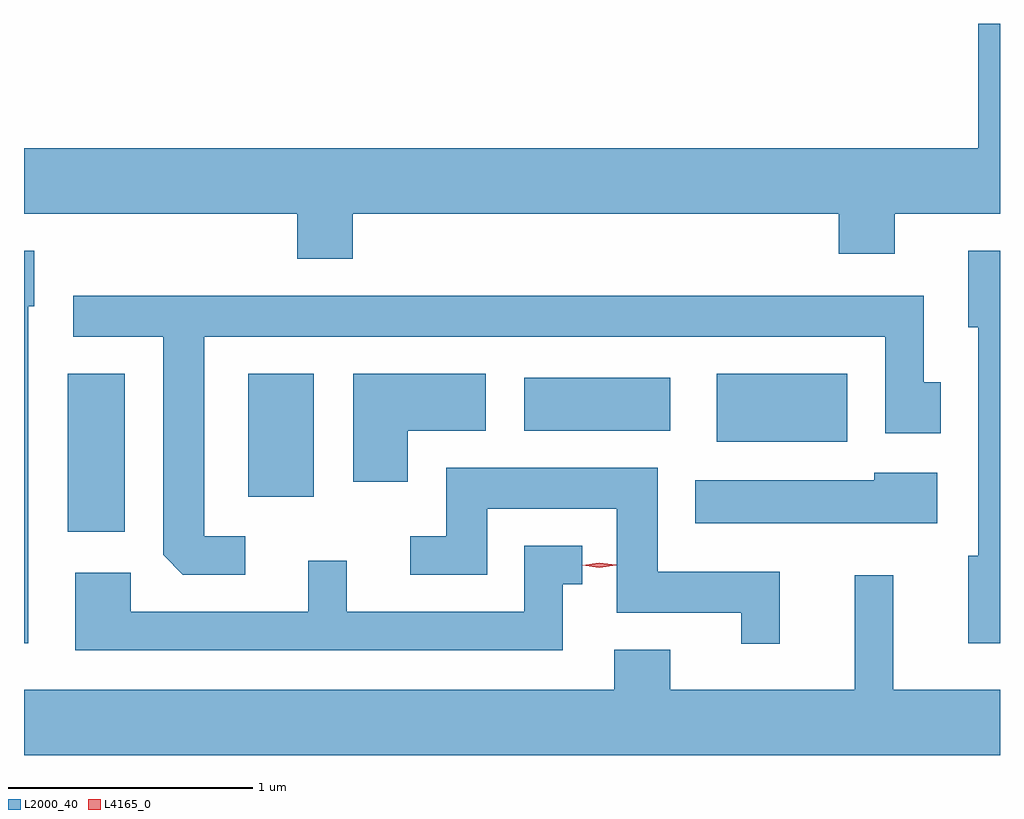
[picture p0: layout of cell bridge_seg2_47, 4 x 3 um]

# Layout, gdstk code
import gdstk
lib = gdstk.Library(unit=1e-6, precision=1e-09)
def R(c, l, rs):  # rectangles x0, y0, x1, y1
    for r in rs: c.add(gdstk.rectangle(r[:2], r[2:], *l))
def P(c, l, *ps):  # polygons
    for p in ps: c.add(gdstk.Polygon(p, *l))
L2000_40 = (2000, 40)
L4165_0 = (4165, 0)

bridge_seg2_47 = lib.new_cell('bridge_seg2_47')
R(bridge_seg2_47, L2000_40, [(1423.711,1053.671,1423.944,1054.319), (1424.451,1053.816,1424.719,1054.319), (1426.371,1054.041,1426.904,1054.319), (1425.581,1054.086,1426.179,1054.304)])
P(bridge_seg2_47, L2000_40, [(1424.879,1054.976),(1426.871,1054.976),(1426.871,1054.811),(1427.099,1054.811),(1427.099,1054.976),(1427.531,1054.976),(1427.531,1055.754),(1427.441,1055.754),(1427.441,1055.244),(1423.531,1055.244),(1423.531,1054.976),(1424.651,1054.976),(1424.651,1054.791),(1424.879,1054.791)],
  [(1423.549,1054.596),(1423.574,1054.596),(1423.574,1054.824),(1423.531,1054.824),(1423.531,1053.216),(1423.549,1053.216)],
  [(1427.531,1054.824),(1427.401,1054.824),(1427.401,1054.511),(1427.441,1054.511),(1427.441,1053.574),(1427.401,1053.574),(1427.401,1053.216),(1427.531,1053.216)],
  [(1424.438,1053.654),(1424.269,1053.654),(1424.269,1054.471),(1427.061,1054.471),(1427.061,1054.076),(1427.289,1054.076),(1427.289,1054.284),(1427.219,1054.284),(1427.219,1054.639),(1423.733,1054.639),(1423.733,1054.471),(1424.101,1054.471),(1424.101,1053.577),(1424.182,1053.496),(1424.438,1053.496)],
  [(1425.104,1054.086),(1425.424,1054.086),(1425.424,1054.319),(1424.881,1054.319),(1424.881,1053.876),(1425.104,1053.876)],
  [(1426.629,1053.509),(1426.129,1053.509),(1426.129,1053.934),(1425.261,1053.934),(1425.261,1053.654),(1425.113,1053.654),(1425.113,1053.496),(1425.429,1053.496),(1425.429,1053.766),(1425.961,1053.766),(1425.961,1053.341),(1426.471,1053.341),(1426.471,1053.213),(1426.629,1053.213)],
  [(1427.274,1053.914),(1427.016,1053.914),(1427.016,1053.884),(1426.281,1053.884),(1426.281,1053.706),(1427.274,1053.706)],
  [(1425.739,1053.456),(1425.818,1053.456),(1425.818,1053.614),(1425.581,1053.614),(1425.581,1053.344),(1424.854,1053.344),(1424.854,1053.553),(1424.696,1053.553),(1424.696,1053.344),(1423.969,1053.344),(1423.969,1053.504),(1423.741,1053.504),(1423.741,1053.186),(1425.739,1053.186)],
  [(1427.531,1053.024),(1427.094,1053.024),(1427.094,1053.493),(1426.936,1053.493),(1426.936,1053.024),(1426.179,1053.024),(1426.179,1053.189),(1425.951,1053.189),(1425.951,1053.024),(1423.531,1053.024),(1423.531,1052.756),(1427.531,1052.756)])
P(bridge_seg2_47, L4165_0, [(1425.888,1053.525),(1425.819,1053.534),(1425.819,1053.535),(1425.819,1053.535),(1425.888,1053.545),(1425.958,1053.536),(1425.958,1053.536),(1425.958,1053.535)])

lib.write_gds('bridge_seg2_47.gds')
